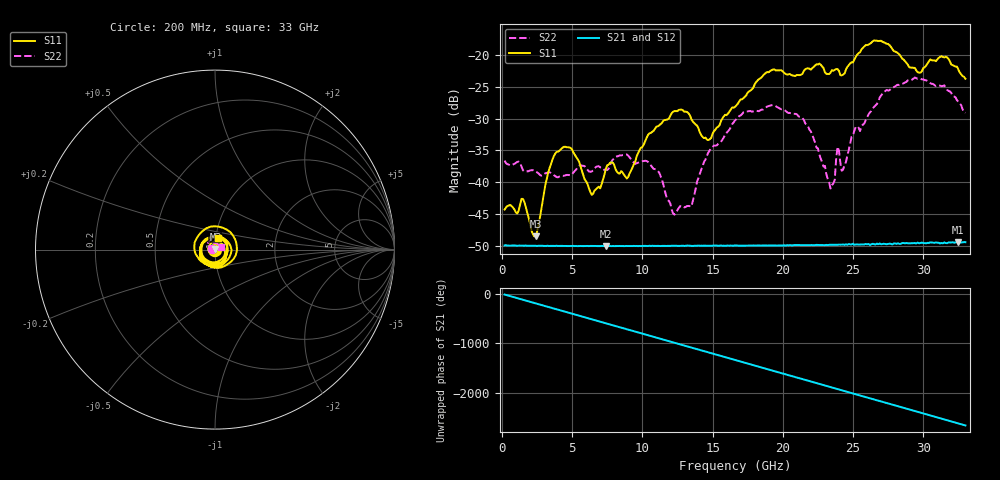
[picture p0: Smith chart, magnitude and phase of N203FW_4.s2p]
# GHZ S RI R 50
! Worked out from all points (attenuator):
!   329 points, 200 MHz to 33 GHz, reference 50 ohm
!   highest |S21| = -49.42 dB at 32.5 GHz (marker M1); lowest = -50.1 dB at 7.4 GHz (marker M2)
!   lowest |S11| = -48.5 dB at 2.4 GHz (marker M3), VSWR 1.01, Z = 50.2 + j0.298 ohm
!   |S11| at or under -10 dB: start of sweep to end of sweep
!   |S22| runs from -45.1 to -23.5 dB; largest |S21 - S12| = 8.8e-05
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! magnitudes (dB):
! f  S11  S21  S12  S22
! 200 MHz  -44.3  -50.0  -49.9  -36.6
! 1.5 GHz  -42.6  -50.0  -50.0  -38.1
! 2.4 GHz  -48.5  -50.0  -50.0  -38.3
! 3.8 GHz  -35.5  -50.0  -50.0  -39.0
! 5.7 GHz  -38.2  -50.1  -50.0  -37.4
! 6.4 GHz  -42.0  -50.0  -50.1  -38.3
! 7.4 GHz  -38.0  -50.1  -50.0  -38.0
! 8.9 GHz  -39.4  -50.0  -50.1  -35.7
! 11.2 GHz  -31.1  -50.1  -50.0  -38.5
! 12.2 GHz  -28.9  -50.0  -50.0  -45.0
! 13.5 GHz  -30.1  -50.1  -50.0  -43.8
! 14.7 GHz  -33.4  -50.0  -50.0  -35.3
! 16.6 GHz  -28.2  -50.0  -50.0  -30.3
! 19.3 GHz  -22.3  -50.0  -50.0  -27.9
! 22.1 GHz  -22.1  -49.9  -49.9  -32.6
! 23.4 GHz  -22.8  -49.9  -49.9  -41.0
! 23.9 GHz  -22.2  -49.9  -49.9  -34.4
! 24.3 GHz  -23.1  -49.8  -49.8  -38.0
! 25.2 GHz  -20.3  -49.8  -49.8  -31.3
! 27.6 GHz  -18.4  -49.7  -49.7  -25.5
! 32.5 GHz  -22.3  -49.4  -49.4  -27.3
! 33 GHz  -23.7  -49.5  -49.5  -29.1
